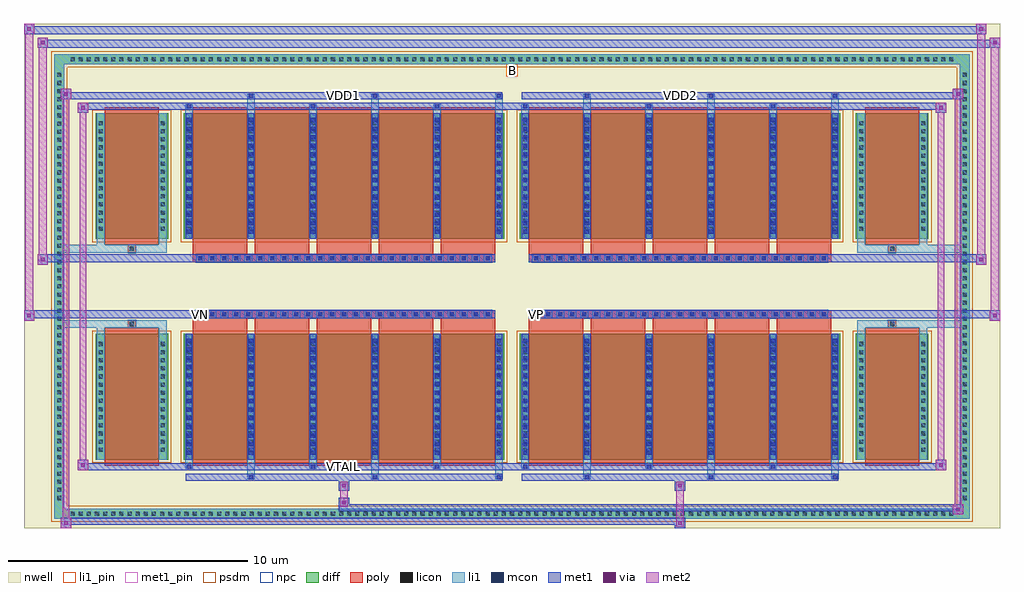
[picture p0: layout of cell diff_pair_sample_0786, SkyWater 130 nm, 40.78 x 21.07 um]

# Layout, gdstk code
import gdstk
lib = gdstk.Library(unit=1e-6, precision=5e-09)
def R(c, l, rs):  # rectangles x0, y0, x1, y1
    for r in rs: c.add(gdstk.rectangle(r[:2], r[2:], *l))
def A(c, l, x, y, w, h, nx, ny, dx, dy):  # array of equal rectangles
    R(c, l, [(x+i*dx, y+j*dy, x+i*dx+w, y+j*dy+h) for i in range(nx) for j in range(ny)])
def P(c, l, *ps):  # polygons
    for p in ps: c.add(gdstk.Polygon(p, *l))
nwell = (64, 20)
diff = (65, 20)
poly = (66, 20)
licon = (66, 44)
li1_pin = (67, 16)
li1 = (67, 20)
mcon = (67, 44)
met1_pin = (68, 16)
met1 = (68, 20)
via = (68, 44)
met2 = (69, 20)
psdm = (94, 20)
npc = (95, 20)

diff_pair_sample_0786 = lib.new_cell('diff_pair_sample_0786')
R(diff_pair_sample_0786, nwell, [(-20.39,-10.1,20.39,10.97), (-17.71,-8.29,-0.01,-0.805), (0.01,-8.29,17.71,-0.805), (-17.71,0.805,-0.01,8.29), (0.01,0.805,17.71,8.29)])
A(diff_pair_sample_0786, diff, -18.565, -9.7, 0.41, 0.41, 109, 2, 0.34, 18.99)
A(diff_pair_sample_0786, diff, -19.12, -9.045, 0.41, 0.41, 1, 53, 0, 0.34)
A(diff_pair_sample_0786, diff, 18.71, -9.045, 0.41, 0.41, 1, 53, 0, 0.34)
R(diff_pair_sample_0786, diff, [(-18.565,-9.7,18.565,-9.29), (-19.12,-9.045,-18.71,9.045), (18.71,-9.045,19.12,9.045), (-17.4,-7.245,-14.36,-1.985), (-13.72,-7.245,-0.32,-1.985), (0.32,-7.245,13.72,-1.985), (14.36,-7.245,17.4,-1.985), (-17.4,1.985,-14.36,7.245), (-13.72,1.985,-0.32,7.245), (0.32,1.985,13.72,7.245), (14.36,1.985,17.4,7.245), (-18.565,9.29,18.565,9.7)])
P(diff_pair_sample_0786, diff, [(19.12,9.7),(-19.12,9.7),(-19.12,-9.29),(-18.71,-9.29),(-18.71,9.29),(18.71,9.29),(18.71,-9.29),(-18.71,-9.29),(-19.12,-9.29),(-19.12,-9.7),(19.12,-9.7)])
A(diff_pair_sample_0786, poly, -13.33, -7.495, 2.26, 5.76, 5, 2, 2.59, 9.23)
A(diff_pair_sample_0786, poly, 0.71, -7.495, 2.26, 5.76, 5, 2, 2.59, 9.23)
A(diff_pair_sample_0786, poly, -13.33, -1.735, 2.26, 0.4, 5, 2, 2.59, 3.07)
A(diff_pair_sample_0786, poly, 0.71, -1.735, 2.26, 0.4, 5, 2, 2.59, 3.07)
A(diff_pair_sample_0786, poly, -13.185, -1.335, 0.33, 0.33, 25, 2, 0.5, 2.34)
A(diff_pair_sample_0786, poly, 0.855, -1.335, 0.33, 0.33, 25, 2, 0.5, 2.34)
R(diff_pair_sample_0786, poly, [(-17.01,-7.495,-14.75,-1.735), (14.75,-7.495,17.01,-1.735), (-16.045,-1.735,-15.715,-1.405), (-16.045,-1.735,-15.715,-1.405), (15.715,-1.735,16.045,-1.405), (15.715,-1.735,16.045,-1.405), (-13.33,-1.335,-0.71,-1.005), (0.71,-1.335,13.33,-1.005), (-13.33,1.005,-0.71,1.335), (0.71,1.005,13.33,1.335), (-16.045,1.405,-15.715,1.735), (-16.045,1.405,-15.715,1.735), (15.715,1.405,16.045,1.735), (15.715,1.405,16.045,1.735), (-17.01,1.735,-14.75,7.495), (14.75,1.735,17.01,7.495)])
A(diff_pair_sample_0786, licon, -18.445, -9.58, 0.17, 0.17, 109, 2, 0.34, 18.99)
A(diff_pair_sample_0786, licon, -19, -8.925, 0.17, 0.17, 1, 53, 0, 0.34)
A(diff_pair_sample_0786, licon, 18.83, -8.925, 0.17, 0.17, 1, 53, 0, 0.34)
A(diff_pair_sample_0786, licon, -17.26, -6.91, 0.17, 0.17, 1, 14, 0, 0.34)
A(diff_pair_sample_0786, licon, -14.67, -6.91, 0.17, 0.17, 1, 14, 0, 0.34)
A(diff_pair_sample_0786, licon, -13.58, -6.91, 0.17, 0.17, 6, 14, 2.59, 0.34)
A(diff_pair_sample_0786, licon, 0.46, -6.91, 0.17, 0.17, 6, 14, 2.59, 0.34)
A(diff_pair_sample_0786, licon, 14.5, -6.91, 0.17, 0.17, 1, 14, 0, 0.34)
A(diff_pair_sample_0786, licon, 17.09, -6.91, 0.17, 0.17, 1, 14, 0, 0.34)
A(diff_pair_sample_0786, licon, -13.105, -1.255, 0.17, 0.17, 25, 2, 0.5, 2.34)
A(diff_pair_sample_0786, licon, 0.935, -1.255, 0.17, 0.17, 25, 2, 0.5, 2.34)
A(diff_pair_sample_0786, licon, -17.26, 2.32, 0.17, 0.17, 1, 14, 0, 0.34)
A(diff_pair_sample_0786, licon, -14.67, 2.32, 0.17, 0.17, 1, 14, 0, 0.34)
A(diff_pair_sample_0786, licon, -13.58, 2.32, 0.17, 0.17, 6, 14, 2.59, 0.34)
A(diff_pair_sample_0786, licon, 0.46, 2.32, 0.17, 0.17, 6, 14, 2.59, 0.34)
A(diff_pair_sample_0786, licon, 14.5, 2.32, 0.17, 0.17, 1, 14, 0, 0.34)
A(diff_pair_sample_0786, licon, 17.09, 2.32, 0.17, 0.17, 1, 14, 0, 0.34)
R(diff_pair_sample_0786, licon, [(-15.965,-1.655,-15.795,-1.485), (15.795,-1.655,15.965,-1.485), (-15.965,1.485,-15.795,1.655), (15.795,1.485,15.965,1.655)])
R(diff_pair_sample_0786, li1_pin, [(-0.25,8.79,0.25,9.29)])
A(diff_pair_sample_0786, li1, -18.525, -9.66, 0.33, 0.33, 109, 2, 0.34, 18.99)
A(diff_pair_sample_0786, li1, -19.08, -9.005, 0.33, 0.33, 1, 53, 0, 0.34)
A(diff_pair_sample_0786, li1, 18.75, -9.005, 0.33, 0.33, 1, 53, 0, 0.34)
A(diff_pair_sample_0786, li1, -11.07, -8.05, 0.33, 0.805, 3, 2, 5.18, 15.295)
A(diff_pair_sample_0786, li1, -10.99, -8.05, 0.17, 0.17, 3, 2, 5.18, 15.93)
A(diff_pair_sample_0786, li1, 2.97, -8.05, 0.33, 0.805, 3, 2, 5.18, 15.295)
A(diff_pair_sample_0786, li1, 3.05, -8.05, 0.17, 0.17, 3, 2, 5.18, 15.93)
A(diff_pair_sample_0786, li1, -13.66, -7.62, 0.33, 0.375, 3, 2, 5.18, 14.865)
A(diff_pair_sample_0786, li1, -13.58, -7.62, 0.17, 0.17, 3, 2, 5.18, 15.07)
A(diff_pair_sample_0786, li1, 0.38, -7.62, 0.33, 0.375, 3, 2, 5.18, 14.865)
A(diff_pair_sample_0786, li1, 0.46, -7.62, 0.17, 0.17, 3, 2, 5.18, 15.07)
A(diff_pair_sample_0786, li1, -13.66, -7.245, 0.33, 5.26, 6, 2, 2.59, 9.23)
A(diff_pair_sample_0786, li1, 0.38, -7.245, 0.33, 5.26, 6, 2, 2.59, 9.23)
A(diff_pair_sample_0786, li1, -13.58, -7.04, 0.17, 0.17, 6, 14, 2.59, 0.36)
A(diff_pair_sample_0786, li1, -13.58, -7.04, 0.17, 4.85, 6, 2, 2.59, 9.23)
A(diff_pair_sample_0786, li1, 0.46, -7.04, 0.17, 0.17, 6, 14, 2.59, 0.36)
A(diff_pair_sample_0786, li1, 0.46, -7.04, 0.17, 4.85, 6, 2, 2.59, 9.23)
A(diff_pair_sample_0786, li1, -17.34, -6.99, 0.33, 0.33, 1, 14, 0, 0.34)
A(diff_pair_sample_0786, li1, -14.75, -6.99, 0.33, 0.33, 1, 14, 0, 0.34)
A(diff_pair_sample_0786, li1, -13.66, -6.99, 0.33, 0.33, 6, 14, 2.59, 0.34)
A(diff_pair_sample_0786, li1, 0.38, -6.99, 0.33, 0.33, 6, 14, 2.59, 0.34)
A(diff_pair_sample_0786, li1, 14.42, -6.99, 0.33, 0.33, 1, 14, 0, 0.34)
A(diff_pair_sample_0786, li1, 17.01, -6.99, 0.33, 0.33, 1, 14, 0, 0.34)
A(diff_pair_sample_0786, li1, -13.185, -1.335, 0.33, 0.33, 25, 2, 0.5, 2.34)
A(diff_pair_sample_0786, li1, 0.855, -1.335, 0.33, 0.33, 25, 2, 0.5, 2.34)
A(diff_pair_sample_0786, li1, -13.58, 2.19, 0.17, 0.17, 6, 14, 2.59, 0.36)
A(diff_pair_sample_0786, li1, 0.46, 2.19, 0.17, 0.17, 6, 14, 2.59, 0.36)
A(diff_pair_sample_0786, li1, -17.34, 2.24, 0.33, 0.33, 1, 14, 0, 0.34)
A(diff_pair_sample_0786, li1, -14.75, 2.24, 0.33, 0.33, 1, 14, 0, 0.34)
A(diff_pair_sample_0786, li1, -13.66, 2.24, 0.33, 0.33, 6, 14, 2.59, 0.34)
A(diff_pair_sample_0786, li1, 0.38, 2.24, 0.33, 0.33, 6, 14, 2.59, 0.34)
A(diff_pair_sample_0786, li1, 14.42, 2.24, 0.33, 0.33, 1, 14, 0, 0.34)
A(diff_pair_sample_0786, li1, 17.01, 2.24, 0.33, 0.33, 1, 14, 0, 0.34)
R(diff_pair_sample_0786, li1, [(-19.12,-9.7,-18.71,-9.29), (-19.12,-9.7,-18.71,-9.29), (-18.71,-9.7,18.71,-9.29), (18.71,-9.7,19.12,-9.29), (18.71,-9.7,19.12,-9.29), (-19.12,-9.29,-18.71,9.29), (18.71,-9.29,19.12,9.29), (-17.34,-7.245,-17.01,-1.985), (-14.75,-7.245,-14.42,-1.985), (14.42,-7.245,14.75,-1.985), (17.01,-7.245,17.34,-1.985), (-17.34,-1.985,-17.01,-1.405), (-14.75,-1.985,-14.42,-1.405), (14.42,-1.985,14.75,-1.405), (17.01,-1.985,17.34,-1.405), (-19.12,-1.735,-16.045,-1.405), (-17.34,-1.735,-16.045,-1.405), (-16.045,-1.735,-15.715,-1.405), (-15.715,-1.735,-14.42,-1.405), (14.42,-1.735,15.715,-1.405), (15.715,-1.735,16.045,-1.405), (15.715,-1.735,19.12,-1.405), (16.045,-1.735,17.34,-1.405), (-19.12,1.405,-16.045,1.735), (-17.34,1.405,-16.045,1.735), (-17.34,1.405,-17.01,1.985), (-16.045,1.405,-15.715,1.735), (-15.715,1.405,-14.42,1.735), (-14.75,1.405,-14.42,1.985), (14.42,1.405,15.715,1.735), (14.42,1.405,14.75,1.985), (15.715,1.405,16.045,1.735), (15.715,1.405,19.12,1.735), (16.045,1.405,17.34,1.735), (17.01,1.405,17.34,1.985), (-17.34,1.985,-17.01,7.245), (-14.75,1.985,-14.42,7.245), (14.42,1.985,14.75,7.245), (17.01,1.985,17.34,7.245), (-19.12,9.29,-18.71,9.7), (-19.12,9.29,-18.71,9.7), (-18.71,9.29,18.71,9.7), (18.71,9.29,19.12,9.7), (18.71,9.29,19.12,9.7)])
A(diff_pair_sample_0786, mcon, -10.99, -8.05, 0.17, 0.17, 3, 2, 5.18, 15.93)
A(diff_pair_sample_0786, mcon, 3.05, -8.05, 0.17, 0.17, 3, 2, 5.18, 15.93)
A(diff_pair_sample_0786, mcon, -13.58, -7.62, 0.17, 0.17, 3, 2, 5.18, 15.07)
A(diff_pair_sample_0786, mcon, 0.46, -7.62, 0.17, 0.17, 3, 2, 5.18, 15.07)
A(diff_pair_sample_0786, mcon, -13.58, -7.04, 0.17, 0.17, 6, 14, 2.59, 0.36)
A(diff_pair_sample_0786, mcon, 0.46, -7.04, 0.17, 0.17, 6, 14, 2.59, 0.36)
A(diff_pair_sample_0786, mcon, -13.105, -1.255, 0.17, 0.17, 25, 2, 0.5, 2.34)
A(diff_pair_sample_0786, mcon, 0.935, -1.255, 0.17, 0.17, 25, 2, 0.5, 2.34)
A(diff_pair_sample_0786, mcon, -13.58, 2.19, 0.17, 0.17, 6, 14, 2.59, 0.36)
A(diff_pair_sample_0786, mcon, 0.46, 2.19, 0.17, 0.17, 6, 14, 2.59, 0.36)
R(diff_pair_sample_0786, met1_pin, [(-7.155,-7.66,-6.885,-7.39), (-13.155,-1.295,-12.885,-1.025), (0.885,-1.295,1.155,-1.025), (-7.155,7.84,-6.885,8.11), (6.885,7.84,7.155,8.11)])
A(diff_pair_sample_0786, met1, -11.05, -8.11, 0.29, 0.29, 3, 2, 5.18, 15.93)
A(diff_pair_sample_0786, met1, 2.99, -8.11, 0.29, 0.29, 3, 2, 5.18, 15.93)
A(diff_pair_sample_0786, met1, -13.64, -7.68, 0.29, 0.29, 3, 2, 5.18, 15.07)
A(diff_pair_sample_0786, met1, 0.4, -7.68, 0.29, 0.29, 3, 2, 5.18, 15.07)
A(diff_pair_sample_0786, met1, -13.64, -7.245, 0.29, 5.26, 6, 2, 2.59, 9.23)
A(diff_pair_sample_0786, met1, 0.4, -7.245, 0.29, 5.26, 6, 2, 2.59, 9.23)
A(diff_pair_sample_0786, met1, -13.64, -7.1, 0.29, 0.29, 6, 14, 2.59, 0.36)
A(diff_pair_sample_0786, met1, 0.4, -7.1, 0.29, 0.29, 6, 14, 2.59, 0.36)
A(diff_pair_sample_0786, met1, -13.165, -1.315, 0.29, 0.29, 25, 2, 0.5, 2.34)
A(diff_pair_sample_0786, met1, 0.875, -1.315, 0.29, 0.29, 25, 2, 0.5, 2.34)
A(diff_pair_sample_0786, met1, -13.64, 2.13, 0.29, 0.29, 6, 14, 2.59, 0.36)
A(diff_pair_sample_0786, met1, 0.4, 2.13, 0.29, 0.29, 6, 14, 2.59, 0.36)
R(diff_pair_sample_0786, met1, [(-18.85,-10.1,-18.42,-9.67), (6.805,-10.1,7.235,-9.67), (-18.85,-9.96,7.235,-9.67), (18.42,-9.53,18.85,-9.1), (-7.235,-9.39,18.85,-9.1), (-7.235,-9.25,-6.805,-8.82), (-7.235,-8.54,-6.805,-8.11), (6.805,-8.54,7.235,-8.11), (-13.64,-8.11,-0.4,-7.82), (0.4,-8.11,13.64,-7.82), (-18.14,-7.68,-17.71,-7.25), (-18.14,-7.68,-13.64,-7.39), (-13.64,-7.68,-0.4,-7.39), (-0.4,-7.68,0.4,-7.39), (0.4,-7.68,13.64,-7.39), (13.64,-7.68,18.14,-7.39), (17.71,-7.68,18.14,-7.25), (-20.39,-1.435,-19.96,-1.005), (19.96,-1.435,20.39,-1.005), (-20.39,-1.335,-0.71,-1.005), (-13.33,-1.335,-0.71,-1.005), (0.71,-1.335,13.33,-1.005), (0.71,-1.335,20.39,-1.005), (-19.82,0.905,-19.39,1.335), (19.39,0.905,19.82,1.335), (-19.82,1.005,-13.33,1.335), (-13.33,1.005,-0.71,1.335), (0.71,1.005,13.33,1.335), (13.33,1.005,19.82,1.335), (-18.14,7.25,-17.71,7.68), (17.71,7.25,18.14,7.68), (-18.14,7.39,-13.64,7.68), (-13.64,7.39,-0.4,7.68), (-0.4,7.39,0.4,7.68), (0.4,7.39,13.64,7.68), (13.64,7.39,18.14,7.68), (-18.85,7.82,-18.42,8.25), (-18.85,7.82,-13.64,8.11), (-13.64,7.82,-0.4,8.11), (0.4,7.82,13.64,8.11), (13.64,7.82,18.85,8.11), (18.42,7.82,18.85,8.25), (-19.82,9.97,-19.39,10.4), (-19.82,9.97,-17.71,10.3), (-17.71,9.97,17.71,10.3), (17.71,9.97,20.39,10.3), (19.96,9.97,20.39,10.4), (-20.39,10.54,-19.96,10.97), (-20.39,10.54,-17.71,10.87), (-17.71,10.54,17.71,10.87), (17.71,10.54,19.82,10.87), (19.39,10.54,19.82,10.97)])
R(diff_pair_sample_0786, via, [(-18.71,-9.96,-18.56,-9.81), (6.945,-9.96,7.095,-9.81), (18.56,-9.39,18.71,-9.24), (-7.095,-9.11,-6.945,-8.96), (-7.095,-8.4,-6.945,-8.25), (6.945,-8.4,7.095,-8.25), (-18,-7.54,-17.85,-7.39), (17.85,-7.54,18,-7.39), (-20.25,-1.295,-20.1,-1.145), (20.1,-1.295,20.25,-1.145), (-19.68,1.045,-19.53,1.195), (19.53,1.045,19.68,1.195), (-18,7.39,-17.85,7.54), (17.85,7.39,18,7.54), (-18.71,7.96,-18.56,8.11), (18.56,7.96,18.71,8.11), (-19.68,10.11,-19.53,10.26), (20.1,10.11,20.25,10.26), (-20.25,10.68,-20.1,10.83), (19.53,10.68,19.68,10.83)])
R(diff_pair_sample_0786, met2, [(-18.85,-10.1,-18.42,-9.67), (-18.78,-10.1,-18.49,8.25), (-18.49,-10.1,-18.42,-9.67), (-18.8,-10.05,-18.47,-9.72), (6.855,-10.05,7.185,-9.72), (6.855,-9.72,7.185,-8.49), (18.42,-9.53,18.85,-9.1), (18.49,-9.53,18.78,8.25), (18.78,-9.53,18.85,-9.1), (18.47,-9.48,18.8,-9.15), (-7.185,-9.2,-6.855,-8.87), (-7.185,-8.87,-6.855,-8.49), (-7.185,-8.49,-6.855,-8.16), (6.855,-8.49,7.185,-8.16), (-18.14,-7.68,-17.71,-7.25), (-18.07,-7.68,-17.78,7.68), (-17.78,-7.68,-17.71,-7.25), (17.71,-7.68,18.14,-7.25), (17.78,-7.68,18.07,7.68), (18.07,-7.68,18.14,-7.25), (-18.09,-7.63,-17.76,-7.3), (17.76,-7.63,18.09,-7.3), (-20.39,-1.435,-19.96,-1.005), (-20.34,-1.435,-20.01,10.97), (-20.01,-1.435,-19.96,-1.005), (19.96,-1.435,20.39,-1.005), (20.01,-1.435,20.34,10.4), (20.34,-1.435,20.39,-1.005), (-20.34,-1.385,-20.01,-1.055), (20.01,-1.385,20.34,-1.055), (-19.82,0.905,-19.39,1.335), (-19.77,0.905,-19.44,10.4), (-19.44,0.905,-19.39,1.335), (19.39,0.905,19.82,1.335), (19.44,0.905,19.77,10.97), (19.77,0.905,19.82,1.335), (-19.77,0.955,-19.44,1.285), (19.44,0.955,19.77,1.285), (-18.14,7.25,-17.71,7.68), (-17.78,7.25,-17.71,7.68), (17.71,7.25,18.14,7.68), (18.07,7.25,18.14,7.68), (-18.09,7.3,-17.76,7.63), (17.76,7.3,18.09,7.63), (-18.85,7.82,-18.42,8.25), (-18.49,7.82,-18.42,8.25), (18.42,7.82,18.85,8.25), (18.78,7.82,18.85,8.25), (-18.8,7.87,-18.47,8.2), (18.47,7.87,18.8,8.2), (-19.82,9.97,-19.39,10.4), (-19.44,9.97,-19.39,10.4), (19.96,9.97,20.39,10.4), (20.34,9.97,20.39,10.4), (-19.77,10.02,-19.44,10.35), (20.01,10.02,20.34,10.35), (-20.39,10.54,-19.96,10.97), (-20.01,10.54,-19.96,10.97), (19.39,10.54,19.82,10.97), (19.77,10.54,19.82,10.97), (-20.34,10.59,-20.01,10.92), (19.44,10.59,19.77,10.92)])
R(diff_pair_sample_0786, psdm, [(-17.53,-7.375,-14.23,-1.855), (-13.85,-7.375,-0.19,-1.855), (0.19,-7.375,13.85,-1.855), (14.23,-7.375,17.53,-1.855), (-17.53,1.855,-14.23,7.375), (-13.85,1.855,-0.19,7.375), (0.19,1.855,13.85,7.375), (14.23,1.855,17.53,7.375)])
P(diff_pair_sample_0786, psdm, [(19.25,9.83),(-19.25,9.83),(-19.25,-9.16),(-18.58,-9.16),(-18.58,9.16),(18.58,9.16),(18.58,-9.16),(-18.58,-9.16),(-19.25,-9.16),(-19.25,-9.83),(19.25,-9.83)])
A(diff_pair_sample_0786, npc, -13.205, -1.355, 0.37, 0.37, 25, 2, 0.5, 2.34)
A(diff_pair_sample_0786, npc, 0.835, -1.355, 0.37, 0.37, 25, 2, 0.5, 2.34)
R(diff_pair_sample_0786, npc, [(-16.065,-1.755,-15.695,-1.385), (15.695,-1.755,16.065,-1.385), (-13.205,-1.355,-12.335,-0.985), (-13.205,-1.355,-12.335,-0.985), (-12.705,-1.355,-11.835,-0.985), (-12.705,-1.355,-11.835,-0.985), (-12.205,-1.355,-11.335,-0.985), (-12.205,-1.355,-11.335,-0.985), (-11.705,-1.355,-10.835,-0.985), (-11.705,-1.355,-10.835,-0.985), (-11.205,-1.355,-10.335,-0.985), (-11.205,-1.355,-10.335,-0.985), (-10.705,-1.355,-9.835,-0.985), (-10.705,-1.355,-9.835,-0.985), (-10.205,-1.355,-9.335,-0.985), (-10.205,-1.355,-9.335,-0.985), (-9.705,-1.355,-8.835,-0.985), (-9.705,-1.355,-8.835,-0.985), (-9.205,-1.355,-8.335,-0.985), (-9.205,-1.355,-8.335,-0.985), (-8.705,-1.355,-7.835,-0.985), (-8.705,-1.355,-7.835,-0.985), (-8.205,-1.355,-7.335,-0.985), (-8.205,-1.355,-7.335,-0.985), (-7.705,-1.355,-6.835,-0.985), (-7.705,-1.355,-6.835,-0.985), (-7.205,-1.355,-6.335,-0.985), (-7.205,-1.355,-6.335,-0.985), (-6.705,-1.355,-5.835,-0.985), (-6.705,-1.355,-5.835,-0.985), (-6.205,-1.355,-5.335,-0.985), (-6.205,-1.355,-5.335,-0.985), (-5.705,-1.355,-4.835,-0.985), (-5.705,-1.355,-4.835,-0.985), (-5.205,-1.355,-4.335,-0.985), (-5.205,-1.355,-4.335,-0.985), (-4.705,-1.355,-3.835,-0.985), (-4.705,-1.355,-3.835,-0.985), (-4.205,-1.355,-3.335,-0.985), (-4.205,-1.355,-3.335,-0.985), (-3.705,-1.355,-2.835,-0.985), (-3.705,-1.355,-2.835,-0.985), (-3.205,-1.355,-2.335,-0.985), (-3.205,-1.355,-2.335,-0.985), (-2.705,-1.355,-1.835,-0.985), (-2.705,-1.355,-1.835,-0.985), (-2.205,-1.355,-1.335,-0.985), (-2.205,-1.355,-1.335,-0.985), (-1.705,-1.355,-0.835,-0.985), (-1.705,-1.355,-0.835,-0.985), (0.835,-1.355,1.705,-0.985), (0.835,-1.355,1.705,-0.985), (1.335,-1.355,2.205,-0.985), (1.335,-1.355,2.205,-0.985), (1.835,-1.355,2.705,-0.985), (1.835,-1.355,2.705,-0.985), (2.335,-1.355,3.205,-0.985), (2.335,-1.355,3.205,-0.985), (2.835,-1.355,3.705,-0.985), (2.835,-1.355,3.705,-0.985), (3.335,-1.355,4.205,-0.985), (3.335,-1.355,4.205,-0.985), (3.835,-1.355,4.705,-0.985), (3.835,-1.355,4.705,-0.985), (4.335,-1.355,5.205,-0.985), (4.335,-1.355,5.205,-0.985), (4.835,-1.355,5.705,-0.985), (4.835,-1.355,5.705,-0.985), (5.335,-1.355,6.205,-0.985), (5.335,-1.355,6.205,-0.985), (5.835,-1.355,6.705,-0.985), (5.835,-1.355,6.705,-0.985), (6.335,-1.355,7.205,-0.985), (6.335,-1.355,7.205,-0.985), (6.835,-1.355,7.705,-0.985), (6.835,-1.355,7.705,-0.985), (7.335,-1.355,8.205,-0.985), (7.335,-1.355,8.205,-0.985), (7.835,-1.355,8.705,-0.985), (7.835,-1.355,8.705,-0.985), (8.335,-1.355,9.205,-0.985), (8.335,-1.355,9.205,-0.985), (8.835,-1.355,9.705,-0.985), (8.835,-1.355,9.705,-0.985), (9.335,-1.355,10.205,-0.985), (9.335,-1.355,10.205,-0.985), (9.835,-1.355,10.705,-0.985), (9.835,-1.355,10.705,-0.985), (10.335,-1.355,11.205,-0.985), (10.335,-1.355,11.205,-0.985), (10.835,-1.355,11.705,-0.985), (10.835,-1.355,11.705,-0.985), (11.335,-1.355,12.205,-0.985), (11.335,-1.355,12.205,-0.985), (11.835,-1.355,12.705,-0.985), (11.835,-1.355,12.705,-0.985), (12.335,-1.355,13.205,-0.985), (12.335,-1.355,13.205,-0.985), (-13.205,0.985,-12.335,1.355), (-13.205,0.985,-12.335,1.355), (-12.705,0.985,-11.835,1.355), (-12.705,0.985,-11.835,1.355), (-12.205,0.985,-11.335,1.355), (-12.205,0.985,-11.335,1.355), (-11.705,0.985,-10.835,1.355), (-11.705,0.985,-10.835,1.355), (-11.205,0.985,-10.335,1.355), (-11.205,0.985,-10.335,1.355), (-10.705,0.985,-9.835,1.355), (-10.705,0.985,-9.835,1.355), (-10.205,0.985,-9.335,1.355), (-10.205,0.985,-9.335,1.355), (-9.705,0.985,-8.835,1.355), (-9.705,0.985,-8.835,1.355), (-9.205,0.985,-8.335,1.355), (-9.205,0.985,-8.335,1.355), (-8.705,0.985,-7.835,1.355), (-8.705,0.985,-7.835,1.355), (-8.205,0.985,-7.335,1.355), (-8.205,0.985,-7.335,1.355), (-7.705,0.985,-6.835,1.355), (-7.705,0.985,-6.835,1.355), (-7.205,0.985,-6.335,1.355), (-7.205,0.985,-6.335,1.355), (-6.705,0.985,-5.835,1.355), (-6.705,0.985,-5.835,1.355), (-6.205,0.985,-5.335,1.355), (-6.205,0.985,-5.335,1.355), (-5.705,0.985,-4.835,1.355), (-5.705,0.985,-4.835,1.355), (-5.205,0.985,-4.335,1.355), (-5.205,0.985,-4.335,1.355), (-4.705,0.985,-3.835,1.355), (-4.705,0.985,-3.835,1.355), (-4.205,0.985,-3.335,1.355), (-4.205,0.985,-3.335,1.355), (-3.705,0.985,-2.835,1.355), (-3.705,0.985,-2.835,1.355), (-3.205,0.985,-2.335,1.355), (-3.205,0.985,-2.335,1.355), (-2.705,0.985,-1.835,1.355), (-2.705,0.985,-1.835,1.355), (-2.205,0.985,-1.335,1.355), (-2.205,0.985,-1.335,1.355), (-1.705,0.985,-0.835,1.355), (-1.705,0.985,-0.835,1.355), (0.835,0.985,1.705,1.355), (0.835,0.985,1.705,1.355), (1.335,0.985,2.205,1.355), (1.335,0.985,2.205,1.355), (1.835,0.985,2.705,1.355), (1.835,0.985,2.705,1.355), (2.335,0.985,3.205,1.355), (2.335,0.985,3.205,1.355), (2.835,0.985,3.705,1.355), (2.835,0.985,3.705,1.355), (3.335,0.985,4.205,1.355), (3.335,0.985,4.205,1.355), (3.835,0.985,4.705,1.355), (3.835,0.985,4.705,1.355), (4.335,0.985,5.205,1.355), (4.335,0.985,5.205,1.355), (4.835,0.985,5.705,1.355), (4.835,0.985,5.705,1.355), (5.335,0.985,6.205,1.355), (5.335,0.985,6.205,1.355), (5.835,0.985,6.705,1.355), (5.835,0.985,6.705,1.355), (6.335,0.985,7.205,1.355), (6.335,0.985,7.205,1.355), (6.835,0.985,7.705,1.355), (6.835,0.985,7.705,1.355), (7.335,0.985,8.205,1.355), (7.335,0.985,8.205,1.355), (7.835,0.985,8.705,1.355), (7.835,0.985,8.705,1.355), (8.335,0.985,9.205,1.355), (8.335,0.985,9.205,1.355), (8.835,0.985,9.705,1.355), (8.835,0.985,9.705,1.355), (9.335,0.985,10.205,1.355), (9.335,0.985,10.205,1.355), (9.835,0.985,10.705,1.355), (9.835,0.985,10.705,1.355), (10.335,0.985,11.205,1.355), (10.335,0.985,11.205,1.355), (10.835,0.985,11.705,1.355), (10.835,0.985,11.705,1.355), (11.335,0.985,12.205,1.355), (11.335,0.985,12.205,1.355), (11.835,0.985,12.705,1.355), (11.835,0.985,12.705,1.355), (12.335,0.985,13.205,1.355), (12.335,0.985,13.205,1.355), (-16.065,1.385,-15.695,1.755), (15.695,1.385,16.065,1.755)])
diff_pair_sample_0786.add(gdstk.Label('VTAIL', (-7.02,-7.525), layer=68, texttype=5))
diff_pair_sample_0786.add(gdstk.Label('VN', (-13.02,-1.16), layer=68, texttype=5))
diff_pair_sample_0786.add(gdstk.Label('VP', (1.02,-1.16), layer=68, texttype=5))
diff_pair_sample_0786.add(gdstk.Label('B', (0,9.04), layer=67, texttype=5))
diff_pair_sample_0786.add(gdstk.Label('VDD2', (7.02,7.975), layer=68, texttype=5))
diff_pair_sample_0786.add(gdstk.Label('VDD1', (-7.02,7.975), layer=68, texttype=5))

lib.write_gds('diff_pair_sample_0786.gds')
